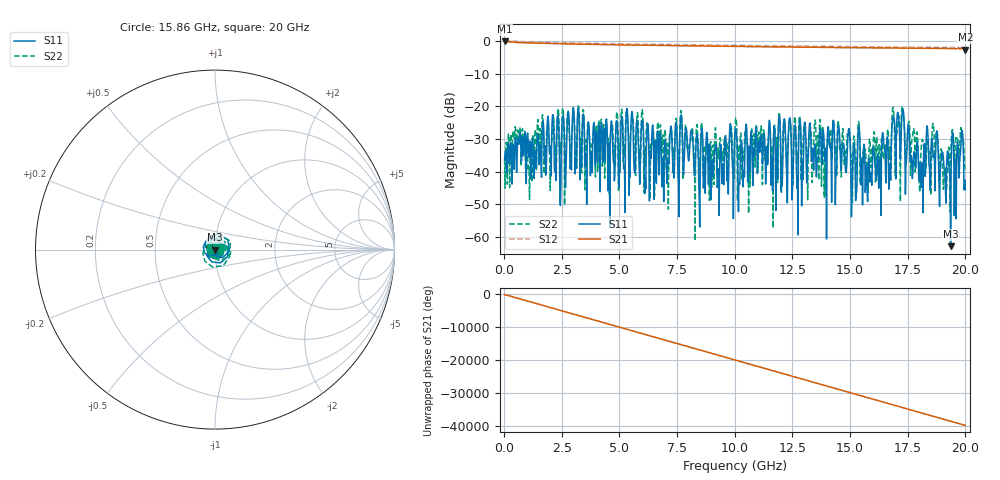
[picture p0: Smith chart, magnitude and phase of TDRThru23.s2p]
! File created by SignalIntegrity v1.3.3: Signal and Power Integrity Tools
! https://github.com/TeledyneLeCroy/SignalIntegrity
# MHz S MA R 50.0
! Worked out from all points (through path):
!   1000 points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, 20 MHz to 20 GHz, reference 50 ohm
!   highest |S21| = -0.06 dB at 20 MHz (marker M1); lowest = -2.6 dB at 20 GHz (marker M2)
!   lowest |S11| = -62.9 dB at 19.36 GHz (marker M3), VSWR 1.00, Z = 50 - j0.0704 ohm
!   |S11| at or under -10 dB: start of sweep to end of sweep
!   |S22| runs from -61.3 to -19.8 dB; largest |S21 - S12| = 0.039
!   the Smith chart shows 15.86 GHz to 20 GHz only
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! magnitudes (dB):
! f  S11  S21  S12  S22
! 20 MHz  -36.3  -0.1  0.3  -36.2
! 480 MHz  -29.5  -0.3  0.0  -26.2
! 1.02 GHz  -28.2  -0.5  -0.2  -35.5
! 1.58 GHz  -32.0  -0.6  -0.3  -28.9
! 3.36 GHz  -38.7  -0.9  -0.6  -40.4
! 6.68 GHz  -29.7  -1.3  -1.0  -25.6
! 9.34 GHz  -40.4  -1.5  -1.2  -31.3
! 10.02 GHz  -27.2  -1.6  -1.3  -25.6
! 13.34 GHz  -36.0  -1.8  -1.5  -38.3
! 14.92 GHz  -27.9  -1.9  -1.6  -29.4
! 15.16 GHz  -31.3  -2.0  -1.7  -29.1
! 15.42 GHz  -29.3  -2.0  -1.7  -31.6
! 15.84 GHz  -39.0  -2.0  -1.7  -30.0
! 16.68 GHz  -45.4  -2.1  -1.7  -32.9
! 17.24 GHz  -24.2  -2.1  -1.8  -20.8
! 18.06 GHz  -44.8  -2.2  -1.8  -36.3
! 18.3 GHz  -30.1  -2.2  -1.8  -37.3
! 18.68 GHz  -45.9  -2.2  -1.9  -37.8
! 19.12 GHz  -41.6  -2.2  -1.9  -38.7
! 19.36 GHz  -62.9  -2.3  -1.9  -37.7
! 19.82 GHz  -30.0  -2.2  -1.9  -26.8
! 20 GHz  -45.6  -2.6  -2.3  -39.6
